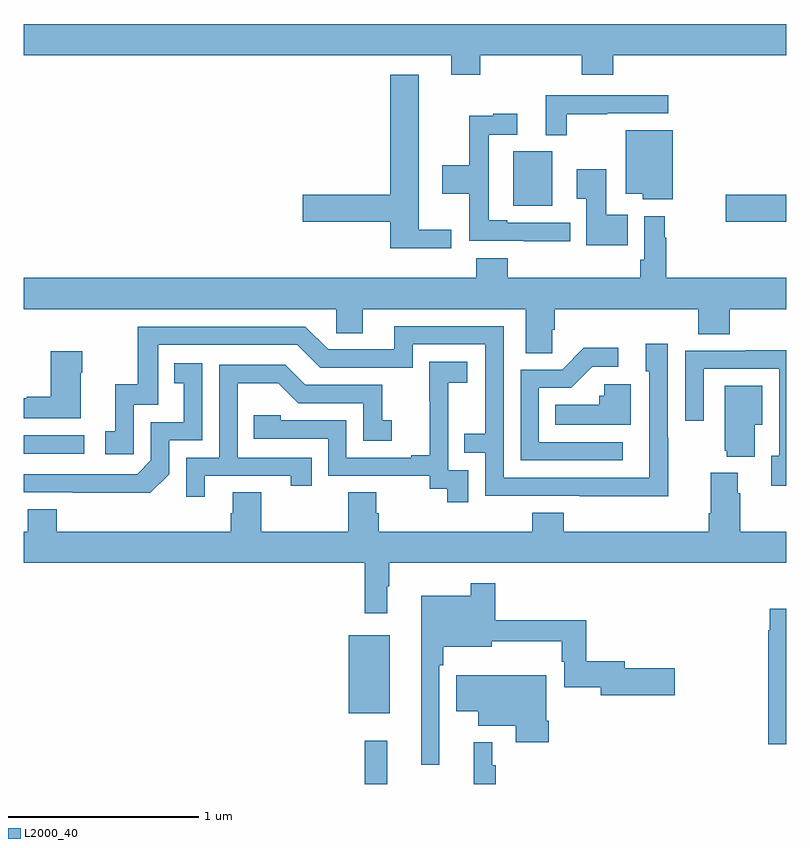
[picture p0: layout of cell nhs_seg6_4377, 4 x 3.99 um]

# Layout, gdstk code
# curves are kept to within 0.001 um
import gdstk
lib = gdstk.Library(unit=1e-6, precision=1e-09)
def R(c, l, rs):  # rectangles x0, y0, x1, y1
    for r in rs: c.add(gdstk.rectangle(r[:2], r[2:], *l))
def P(c, l, *ps):  # polygons
    for p in ps: c.add(gdstk.Polygon(p, *l))
L2000_40 = (2000, 40)

nhs_seg6_4377 = lib.new_cell('nhs_seg6_4377')
R(nhs_seg6_4377, L2000_40, [(370.789,955.5,370.907,955.726), (370.706,955.871,370.921,956.281), (369,957.234,369.316,957.33), (372.684,958.45,373,958.592), (371.567,958.535,371.773,958.819)])
P(nhs_seg6_4377, L2000_40, [(371.396,959.324),(371.927,959.324),(371.927,959.222),(372.092,959.222),(372.092,959.324),(373,959.324),(373,959.488),(369,959.488),(369,959.324),(371.243,959.324),(371.243,959.222),(371.396,959.222)],
  [(371.242,958.409),(371.071,958.409),(371.071,959.221),(370.922,959.221),(370.922,958.592),(370.464,958.592),(370.464,958.45),(370.922,958.45),(370.922,958.31),(371.242,958.31)],
  [(371.848,959.014),(372.062,959.014),(372.062,959.019),(372.382,959.019),(372.382,959.115),(371.738,959.115),(371.738,958.904),(371.848,958.904)],
  [(371.866,958.446),(371.536,958.446),(371.536,958.459),(371.439,958.459),(371.439,958.908),(371.59,958.908),(371.59,959.017),(371.462,959.017),(371.462,959.006),(371.338,959.006),(371.338,958.746),(371.196,958.746),(371.196,958.598),(371.338,958.598),(371.338,958.35),(371.623,958.35),(371.623,958.349),(371.866,958.349)],
  [(372.406,958.93),(372.158,958.93),(372.158,958.598),(372.248,958.598),(372.248,958.568),(372.406,958.568)],
  [(372.17,958.486),(372.055,958.486),(372.055,958.726),(371.901,958.726),(371.901,958.57),(371.951,958.57),(371.951,958.328),(372.17,958.328)],
  [(371.772,957.883),(371.786,957.883),(371.786,957.992),(372.539,957.992),(372.539,957.859),(372.704,957.859),(372.704,957.992),(373,957.992),(373,958.156),(372.371,958.156),(372.371,958.367),(372.364,958.367),(372.364,958.48),(372.255,958.48),(372.255,958.252),(372.235,958.252),(372.235,958.156),(371.54,958.156),(371.54,958.258),(371.375,958.258),(371.375,958.156),(369,958.156),(369,957.992),(370.638,957.992),(370.638,957.865),(370.777,957.865),(370.777,957.992),(371.633,957.992),(371.633,957.76),(371.772,957.76)],
  [(372.381,957.317),(372.378,957.317),(372.378,957.811),(372.263,957.811),(372.263,957.666),(372.282,957.666),(372.281,957.108),(371.517,957.108),(371.517,957.903),(370.943,957.903),(370.943,957.78),(370.596,957.78),(370.476,957.9),(369.597,957.9),(369.597,957.598),(369.479,957.598),(369.479,957.351),(369.426,957.351),(369.426,957.231),(369.576,957.231),(369.576,957.489),(369.705,957.489),(369.705,957.804),(370.434,957.804),(370.554,957.684),(371.04,957.684),(371.04,957.807),(371.421,957.807),(371.421,957.338),(371.311,957.338),(371.311,957.237),(371.421,957.237),(371.421,957.012),(372.381,957.011)],
  [(372.142,957.294),(371.703,957.294),(371.703,957.579),(371.872,957.579),(371.983,957.69),(372.118,957.69),(372.118,957.788),(371.939,957.788),(371.826,957.675),(371.607,957.675),(371.607,957.198),(372.142,957.198)],
  [(373,957.776),(372.787,957.776),(372.787,957.774),(372.471,957.774),(372.471,957.405),(372.567,957.405),(372.567,957.678),(372.963,957.678),(372.963,957.222),(372.923,957.222),(372.923,957.066),(373,957.066)],
  [(369.298,957.659),(369.306,957.659),(369.306,957.772),(369.14,957.772),(369.14,957.533),(369.014,957.533),(369.014,957.523),(369,957.523),(369,957.419),(369.298,957.419)],
  [(371.331,957.147),(371.226,957.147),(371.226,957.377),(371.228,957.377),(371.228,957.605),(371.326,957.605),(371.326,957.715),(371.128,957.715),(371.128,957.509),(371.129,957.509),(371.129,957.226),(371.033,957.226),(371.033,957.213),(370.692,957.213),(370.692,957.408),(370.347,957.408),(370.347,957.435),(370.207,957.435),(370.207,957.312),(370.596,957.312),(370.596,957.117),(371.13,957.117),(371.13,957.049),(371.223,957.049),(371.223,956.979),(371.331,956.979)],
  [(369.762,957.126),(369.762,957.303),(369.936,957.303),(369.936,957.709),(369.79,957.709),(369.79,957.603),(369.839,957.603),(369.839,957.399),(369.666,957.399),(369.666,957.198),(369.594,957.126),(369,957.126),(369,957.03),(369.664,957.029)],
  [(369.949,957.117),(370.4,957.117),(370.4,957.066),(370.511,957.066),(370.511,957.213),(370.122,957.213),(370.122,957.602),(370.336,957.602),(370.44,957.498),(370.782,957.498),(370.782,957.3),(370.93,957.3),(370.93,957.409),(370.881,957.409),(370.881,957.594),(370.477,957.594),(370.372,957.699),(370.026,957.699),(370.026,957.213),(369.852,957.213),(369.852,957.006),(369.949,957.006)],
  [(372.184,957.598),(372.045,957.598),(372.045,957.537),(372.019,957.537),(372.019,957.49),(371.788,957.49),(371.788,957.386),(372.184,957.386)],
  [(372.835,957.386),(372.874,957.386),(372.874,957.589),(372.677,957.589),(372.677,957.249),(372.689,957.249),(372.689,957.218),(372.835,957.218)],
  [(373,956.824),(372.758,956.824),(372.758,957.026),(372.745,957.026),(372.745,957.133),(372.605,957.133),(372.605,956.92),(372.593,956.92),(372.593,956.824),(371.834,956.824),(371.834,956.923),(371.669,956.923),(371.669,956.824),(370.862,956.824),(370.862,956.922),(370.849,956.922),(370.849,957.032),(370.702,957.032),(370.702,956.824),(370.245,956.824),(370.245,957.032),(370.097,957.032),(370.097,956.922),(370.085,956.922),(370.085,956.824),(369.173,956.824),(369.173,956.941),(369.02,956.941),(369.02,956.824),(369,956.824),(369,956.66),(370.789,956.66),(370.789,956.397),(370.906,956.397),(370.906,956.537),(370.918,956.537),(370.918,956.66),(373,956.66)],
  [(371.181,956.123),(371.201,956.123),(371.201,956.219),(371.455,956.219),(371.455,956.249),(371.823,956.249),(371.823,956.142),(371.835,956.142),(371.835,956.008),(372.026,956.008),(372.026,955.966),(372.415,955.966),(372.415,956.108),(372.154,956.108),(372.154,956.144),(371.951,956.144),(371.951,956.359),(371.474,956.359),(371.474,956.554),(371.346,956.554),(371.346,956.488),(371.084,956.488),(371.084,955.602),(371.181,955.602)],
  [(373,956.419),(372.915,956.419),(372.915,956.306),(372.907,956.306),(372.907,955.709),(373,955.709)],
  [(371.753,955.831),(371.74,955.831),(371.74,956.071),(371.27,956.071),(371.27,955.883),(371.384,955.883),(371.384,955.805),(371.582,955.805),(371.582,955.719),(371.753,955.719)],
  [(371.477,955.599),(371.457,955.599),(371.457,955.72),(371.36,955.72),(371.36,955.5),(371.477,955.5)])

lib.write_gds('nhs_seg6_4377.gds')
